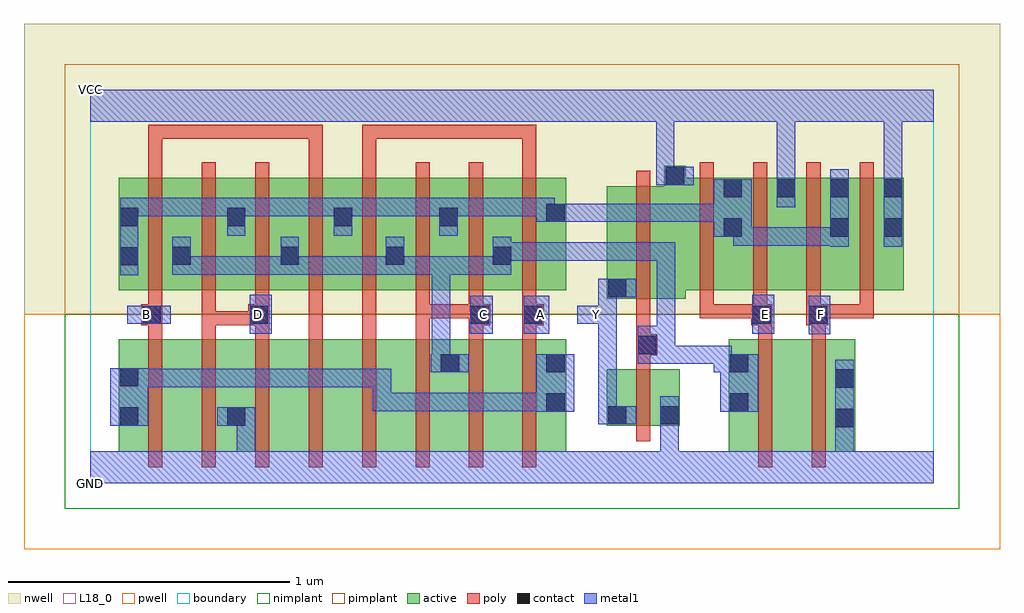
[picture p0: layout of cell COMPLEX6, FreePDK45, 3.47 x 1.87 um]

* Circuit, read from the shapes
.subckt COMPLEX6 A B C D E F GND VCC Y
M1 n1 B n2 VSUBS nfet w=0.4u l=0.05u
M2 GND D n1 VSUBS nfet w=0.4u l=0.05u
M3 n3 D GND VSUBS nfet w=0.4u l=0.05u
M4 n4 B n3 VSUBS nfet w=0.4u l=0.05u
M5 n5 A n4 VSUBS nfet w=0.4u l=0.05u
M6 n6 C n5 VSUBS nfet w=0.4u l=0.05u
M7 n7 C n6 VSUBS nfet w=0.4u l=0.05u
M8 n2 A n7 VSUBS nfet w=0.4u l=0.05u
M9 GND n6 Y VSUBS nfet w=0.2u l=0.05u
M10 n8 E n6 VSUBS nfet w=0.4u l=0.05u
M11 GND F n8 VSUBS nfet w=0.4u l=0.05u
M12 n6 B n9 n10 pfet w=0.4u l=0.05u m=2
M13 n9 D n6 n10 pfet w=0.4u l=0.05u m=2
M14 n6 A n9 n10 pfet w=0.4u l=0.05u m=2
M15 n9 C n6 n10 pfet w=0.4u l=0.05u m=2
M16 VCC n6 Y n10 pfet w=0.4u l=0.05u
M17 n9 E VCC n10 pfet w=0.4u l=0.05u m=2
M18 n9 F VCC n10 pfet w=0.4u l=0.05u m=2
.ends

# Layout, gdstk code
import gdstk
lib = gdstk.Library(unit=1e-6, precision=1e-09)
def R(c, l, rs):  # rectangles x0, y0, x1, y1
    for r in rs: c.add(gdstk.rectangle(r[:2], r[2:], *l))
def A(c, l, x, y, w, h, nx, ny, dx, dy):  # array of equal rectangles
    R(c, l, [(x+i*dx, y+j*dy, x+i*dx+w, y+j*dy+h) for i in range(nx) for j in range(ny)])
active = (1, 0)
pwell = (2, 0)
nwell = (3, 0)
nimplant = (4, 0)
pimplant = (5, 0)
poly = (9, 0)
contact = (10, 0)
metal1 = (11, 0)
L18_0 = (18, 0)
boundary = (235, 0)

complex6 = lib.new_cell('COMPLEX6')
A(complex6, active, 1.047, 0.687, 0.265, 0.4, 3, 1, 0.19, 0)
A(complex6, active, 2.247, 0.687, 0.265, 0.4, 3, 1, 0.19, 0)
R(complex6, active, [(0.102,0.112,0.327,0.512), (0.327,0.112,0.557,0.512), (0.482,0.112,0.707,0.512), (0.707,0.112,0.897,0.512), (0.897,0.112,1.087,0.512), (1.087,0.112,1.317,0.512), (1.242,0.112,1.467,0.512), (1.467,0.112,1.692,0.512), (2.27,0.112,2.495,0.512), (2.495,0.112,2.72,0.512), (0.102,0.147,0.207,0.512), (0.482,0.147,0.557,0.492), (1.242,0.147,1.317,0.512), (1.617,0.147,1.692,0.512), (2.27,0.147,2.375,0.512), (2.645,0.147,2.72,0.512), (1.837,0.205,1.912,0.405), (1.837,0.205,2.097,0.405), (2.022,0.205,2.097,0.405), (1.837,0.657,2.117,1.057), (1.837,0.657,1.912,0.94), (0.102,0.687,0.177,1.067), (0.102,0.687,0.362,1.087), (0.287,0.687,0.362,1.057), (0.287,0.687,0.557,1.087), (0.482,0.687,0.747,1.087), (0.672,0.687,0.937,1.087), (0.672,0.687,0.747,1.057), (0.862,0.687,1.122,1.087), (1.427,0.687,1.502,1.067), (2.042,0.687,2.322,1.087), (2.627,0.687,2.702,1.087), (2.817,0.687,2.892,1.087), (1.047,0.772,1.122,1.057), (0.482,0.782,0.557,1.057), (1.237,0.782,1.312,1.057), (2.437,0.802,2.512,1.087), (0.862,0.862,0.937,1.057), (2.247,0.872,2.322,1.087), (1.617,0.907,1.692,1.067), (2.042,0.907,2.117,1.13)])
R(complex6, pwell, [(-0.235,-0.235,3.235,0.602)])
R(complex6, nwell, [(-0.235,0.602,3.235,1.635)])
R(complex6, nimplant, [(-0.09,-0.09,3.09,0.602)])
R(complex6, pimplant, [(-0.09,0.602,3.09,1.49)])
A(complex6, poly, 0.207, 0.057, 0.05, 0.51, 8, 2, 0.19, 0.575)
A(complex6, poly, 0.207, 0.517, 0.05, 0.095, 3, 1, 0.19, 0)
A(complex6, poly, 1.157, 0.587, 0.05, 0.095, 3, 1, 0.19, 0)
A(complex6, poly, 2.167, 0.587, 0.05, 0.095, 4, 1, 0.19, 0)
A(complex6, poly, 2.167, 0.632, 0.05, 0.51, 4, 1, 0.19, 0)
R(complex6, poly, [(2.375,0.057,2.425,0.567), (2.565,0.057,2.615,0.567), (1.942,0.15,1.992,0.46), (1.942,0.41,1.992,0.505), (1.942,0.455,2.017,0.53), (1.942,0.48,1.992,0.652), (0.777,0.517,0.827,0.637), (0.967,0.517,1.017,0.612), (1.157,0.517,1.207,0.637), (1.347,0.517,1.397,0.612), (1.537,0.517,1.587,0.612), (2.375,0.517,2.425,0.612), (2.565,0.517,2.615,0.612), (0.182,0.562,0.257,0.637), (0.397,0.562,0.447,0.612), (0.397,0.562,0.447,0.682), (0.397,0.562,0.612,0.612), (0.562,0.562,0.612,0.612), (0.562,0.562,0.612,0.612), (0.562,0.562,0.637,0.637), (0.967,0.562,1.017,0.612), (0.967,0.562,1.017,0.682), (1.347,0.562,1.422,0.637), (1.537,0.562,1.612,0.637), (2.35,0.562,2.425,0.637), (2.547,0.562,2.625,0.637), (0.207,0.587,0.257,0.682), (0.587,0.587,0.637,0.682), (0.777,0.587,0.827,0.682), (0.777,0.587,0.827,0.637), (1.157,0.587,1.207,0.637), (1.157,0.587,1.397,0.637), (1.347,0.587,1.397,0.637), (1.347,0.587,1.397,0.637), (2.167,0.587,2.217,0.637), (2.167,0.587,2.4,0.637), (2.35,0.587,2.4,0.637), (2.35,0.587,2.4,0.637), (2.575,0.587,2.787,0.637), (2.575,0.587,2.625,0.637), (2.575,0.587,2.625,0.637), (2.737,0.587,2.787,0.637), (1.942,0.602,1.992,1.112), (0.207,1.092,0.257,1.275), (0.777,1.092,0.827,1.275), (0.967,1.092,1.017,1.275), (1.537,1.092,1.587,1.275), (0.207,1.225,0.257,1.275), (0.207,1.225,0.257,1.275), (0.207,1.225,0.257,1.275), (0.207,1.225,0.39,1.275), (0.34,1.225,0.39,1.275), (0.34,1.225,0.58,1.275), (0.53,1.225,0.58,1.275), (0.53,1.225,0.58,1.275), (0.53,1.225,0.58,1.275), (0.53,1.225,0.827,1.275), (0.777,1.225,0.827,1.275), (0.777,1.225,0.827,1.275), (0.777,1.225,0.827,1.275), (0.967,1.225,1.017,1.275), (0.967,1.225,1.017,1.275), (0.967,1.225,1.017,1.275), (0.967,1.225,1.15,1.275), (1.1,1.225,1.15,1.275), (1.1,1.225,1.15,1.275), (1.1,1.225,1.15,1.275), (1.1,1.225,1.455,1.275), (1.405,1.225,1.455,1.275), (1.405,1.225,1.587,1.275), (1.537,1.225,1.587,1.275), (1.537,1.225,1.587,1.275), (1.537,1.225,1.587,1.275)])
A(complex6, contact, 0.107, 0.915, 0.065, 0.065, 3, 1, 0.38, 0)
A(complex6, contact, 2.252, 1.017, 0.065, 0.065, 4, 1, 0.19, 0)
R(complex6, contact, [(2.65,0.2,2.715,0.265), (0.107,0.205,0.172,0.27), (0.487,0.205,0.552,0.27), (1.842,0.21,1.907,0.275), (2.027,0.21,2.092,0.275), (1.622,0.255,1.687,0.32), (2.275,0.255,2.34,0.32), (2.65,0.34,2.715,0.405), (0.107,0.345,0.172,0.41), (1.247,0.395,1.312,0.46), (1.622,0.395,1.687,0.46), (2.275,0.395,2.34,0.46), (1.947,0.46,2.012,0.525), (0.187,0.567,0.252,0.632), (0.567,0.567,0.632,0.632), (1.352,0.567,1.417,0.632), (1.542,0.567,1.607,0.632), (2.355,0.567,2.42,0.632), (2.555,0.567,2.62,0.632), (1.842,0.662,1.907,0.727), (0.107,0.775,0.172,0.84), (0.292,0.777,0.357,0.842), (0.677,0.777,0.742,0.842), (1.052,0.777,1.117,0.842), (1.432,0.777,1.497,0.842), (2.252,0.877,2.317,0.942), (2.632,0.877,2.697,0.942), (2.822,0.877,2.887,0.942), (1.242,0.915,1.307,0.98), (1.622,0.93,1.687,0.995), (2.047,1.06,2.112,1.125)])
R(complex6, metal1, [(0,0,3,0.115), (0.522,0.05,0.587,0.27), (2.027,0.05,2.092,0.115), (2.027,0.05,2.092,0.115), (2.027,0.05,2.092,0.115), (2.027,0.05,2.092,0.115), (2.027,0.05,2.092,0.24), (2.65,0.05,2.715,0.23), (2.65,0.165,2.715,0.44), (2.027,0.175,2.092,0.31), (0.072,0.205,0.207,0.41), (0.452,0.205,0.587,0.27), (1.807,0.21,1.942,0.275), (1.807,0.21,1.872,0.632), (1.587,0.255,1.722,0.46), (2.24,0.255,2.375,0.46), (1.005,0.257,1.07,0.322), (1.005,0.257,1.255,0.322), (1.005,0.257,1.07,0.407), (1.19,0.257,1.255,0.322), (1.19,0.257,1.255,0.322), (1.19,0.257,1.255,0.322), (1.19,0.257,1.47,0.322), (1.405,0.257,1.47,0.322), (1.405,0.257,1.515,0.322), (1.45,0.257,1.515,0.322), (1.45,0.257,1.515,0.322), (1.45,0.257,1.515,0.322), (1.45,0.257,1.652,0.322), (1.587,0.257,1.652,0.322), (1.587,0.257,1.652,0.322), (0.142,0.342,0.357,0.407), (0.292,0.342,0.357,0.407), (0.292,0.342,0.357,0.407), (0.292,0.342,0.357,0.407), (0.292,0.342,0.495,0.407), (0.43,0.342,0.495,0.407), (0.43,0.342,0.495,0.407), (0.43,0.342,0.495,0.407), (0.43,0.342,0.69,0.407), (0.625,0.342,0.69,0.407), (0.625,0.342,0.69,0.407), (0.625,0.342,0.69,0.407), (0.625,0.342,0.932,0.407), (0.867,0.342,0.932,0.407), (0.867,0.342,0.932,0.407), (0.867,0.342,0.932,0.407), (0.867,0.342,1.07,0.407), (1.005,0.342,1.07,0.407), (1.005,0.342,1.07,0.407), (1.005,0.342,1.07,0.407), (1.212,0.395,1.347,0.46), (1.215,0.395,1.28,0.46), (1.215,0.395,1.28,0.46), (1.215,0.395,1.28,0.807), (2.217,0.395,2.305,0.46), (2.217,0.395,2.282,0.49), (1.947,0.425,2.012,0.56), (1.947,0.425,2.08,0.49), (2.015,0.425,2.08,0.49), (2.015,0.425,2.08,0.49), (2.015,0.425,2.08,0.49), (2.015,0.425,2.08,0.49), (2.015,0.425,2.08,0.49), (2.015,0.425,2.282,0.49), (2.015,0.425,2.08,0.857), (2.555,0.53,2.632,0.667), (0.567,0.532,0.645,0.67), (1.352,0.532,1.432,0.667), (1.542,0.532,1.632,0.667), (2.355,0.532,2.432,0.67), (0.132,0.567,0.287,0.632), (1.732,0.567,1.872,0.632), (1.807,0.567,1.872,0.727), (1.807,0.662,1.942,0.727), (0.107,0.74,0.172,1.015), (0.292,0.742,0.357,0.877), (0.292,0.742,0.495,0.807), (0.43,0.742,0.495,0.807), (0.43,0.742,0.495,0.807), (0.43,0.742,0.495,0.807), (0.43,0.742,0.742,0.807), (0.677,0.742,0.742,0.807), (0.677,0.742,0.742,0.807), (0.677,0.742,0.742,0.877), (0.677,0.742,0.932,0.807), (0.867,0.742,0.932,0.807), (0.867,0.742,0.932,0.807), (0.867,0.742,0.932,0.807), (0.867,0.742,1.117,0.807), (1.052,0.742,1.117,0.807), (1.052,0.742,1.117,0.807), (1.052,0.742,1.117,0.877), (1.052,0.742,1.28,0.807), (1.215,0.742,1.28,0.807), (1.215,0.742,1.28,0.807), (1.215,0.742,1.28,0.807), (1.215,0.742,1.47,0.807), (1.405,0.742,1.47,0.807), (1.405,0.742,1.497,0.807), (1.432,0.742,1.497,0.877), (1.432,0.792,1.66,0.857), (1.595,0.792,1.66,0.857), (1.595,0.792,1.66,0.857), (1.595,0.792,1.66,0.857), (1.595,0.792,1.66,0.857), (1.595,0.792,1.66,0.857), (1.595,0.792,1.797,0.857), (1.732,0.792,1.797,0.857), (1.732,0.792,2.08,0.857), (2.015,0.792,2.08,0.857), (2.015,0.792,2.08,0.857), (2.015,0.792,2.08,0.857), (2.632,0.842,2.697,1.117), (2.822,0.842,2.887,1.117), (2.287,0.845,2.352,0.91), (2.287,0.845,2.42,0.91), (2.287,0.845,2.352,0.942), (2.355,0.845,2.42,0.91), (2.355,0.845,2.56,0.91), (2.495,0.845,2.56,0.91), (2.495,0.845,2.56,0.91), (2.495,0.845,2.56,0.91), (2.495,0.845,2.697,0.91), (2.217,0.877,2.352,1.082), (2.287,0.877,2.352,0.942), (2.287,0.877,2.352,0.942), (0.487,0.88,0.552,1.015), (0.867,0.88,0.932,1.015), (1.242,0.88,1.307,1.015), (1.587,0.93,1.652,0.995), (1.587,0.93,1.722,0.995), (1.587,0.93,1.652,1.015), (1.657,0.93,1.872,0.995), (1.807,0.93,1.872,0.995), (1.807,0.93,1.872,0.995), (1.807,0.93,1.872,0.995), (1.807,0.93,2.01,0.995), (1.945,0.93,2.01,0.995), (1.945,0.93,2.282,0.995), (2.217,0.93,2.282,0.995), (2.217,0.93,2.282,0.995), (0.107,0.95,0.357,1.015), (0.292,0.95,0.357,1.015), (0.292,0.95,0.357,1.015), (0.292,0.95,0.357,1.015), (0.292,0.95,0.495,1.015), (0.43,0.95,0.495,1.015), (0.43,0.95,0.552,1.015), (0.487,0.95,0.795,1.015), (0.73,0.95,0.795,1.015), (0.73,0.95,0.795,1.015), (0.73,0.95,0.795,1.015), (0.73,0.95,0.932,1.015), (0.867,0.95,0.932,1.015), (0.867,0.95,0.932,1.015), (0.867,0.95,1.07,1.015), (1.005,0.95,1.07,1.015), (1.005,0.95,1.07,1.015), (1.005,0.95,1.07,1.015), (1.005,0.95,1.255,1.015), (1.19,0.95,1.255,1.015), (1.19,0.95,1.307,1.015), (1.242,0.95,1.47,1.015), (1.405,0.95,1.47,1.015), (1.405,0.95,1.47,1.015), (1.405,0.95,1.47,1.015), (1.405,0.95,1.652,1.015), (2.442,0.982,2.507,1.117), (2.442,1.052,2.507,1.35), (2.442,1.052,2.507,1.117), (2.442,1.052,2.507,1.117), (2.822,1.052,2.887,1.35), (2.012,1.06,2.077,1.35), (2.012,1.06,2.147,1.125), (0,1.285,3,1.4), (2.012,1.285,2.077,1.35), (2.012,1.285,2.077,1.35), (2.822,1.285,2.887,1.35), (2.822,1.285,2.887,1.35)])
A(complex6, L18_0, 1.367, 0.567, 0.065, 0.065, 3, 1, 0.2, 0)
R(complex6, L18_0, [(0,0,3,0.115), (0.522,0.05,0.587,0.27), (2.027,0.05,2.092,0.115), (2.027,0.05,2.092,0.115), (2.027,0.05,2.092,0.115), (2.027,0.05,2.092,0.115), (2.027,0.05,2.092,0.24), (2.65,0.05,2.715,0.23), (2.65,0.165,2.715,0.44), (2.027,0.175,2.092,0.31), (0.452,0.205,0.587,0.27), (1.807,0.21,1.942,0.275), (1.807,0.21,1.872,0.632), (2.555,0.53,2.632,0.667), (0.567,0.532,0.645,0.67), (1.352,0.532,1.432,0.667), (1.542,0.532,1.632,0.667), (2.355,0.532,2.432,0.67), (0.132,0.567,0.287,0.632), (0.167,0.567,0.232,0.632), (0.567,0.567,0.632,0.632), (1.732,0.567,1.872,0.632), (1.807,0.567,1.872,0.727), (2.367,0.567,2.432,0.632), (2.567,0.567,2.632,0.632), (1.807,0.662,1.942,0.727), (2.822,0.842,2.887,1.117), (2.442,0.982,2.507,1.117), (2.442,1.052,2.507,1.117), (2.442,1.052,2.507,1.117), (2.442,1.052,2.507,1.35), (2.822,1.052,2.887,1.35), (2.012,1.06,2.147,1.125), (2.012,1.06,2.077,1.35), (0,1.285,3,1.4), (2.012,1.285,2.077,1.35), (2.012,1.285,2.077,1.35), (2.822,1.285,2.887,1.35), (2.822,1.285,2.887,1.35)])
R(complex6, boundary, [(0,0,3,1.4)])
complex6.add(gdstk.Label('A', (1.6,0.6), layer=11, texttype=0))
complex6.add(gdstk.Label('B', (0.2,0.6), layer=11, texttype=0))
complex6.add(gdstk.Label('C', (1.4,0.6), layer=11, texttype=0))
complex6.add(gdstk.Label('D', (0.6,0.6), layer=11, texttype=0))
complex6.add(gdstk.Label('E', (2.4,0.6), layer=11, texttype=0))
complex6.add(gdstk.Label('F', (2.6,0.6), layer=11, texttype=0))
complex6.add(gdstk.Label('Y', (1.8,0.6), layer=11, texttype=0))
complex6.add(gdstk.Label('VCC', (0,1.4), layer=11, texttype=0))
complex6.add(gdstk.Label('GND', (0,0), layer=11, texttype=0))

lib.write_gds('COMPLEX6.gds')
